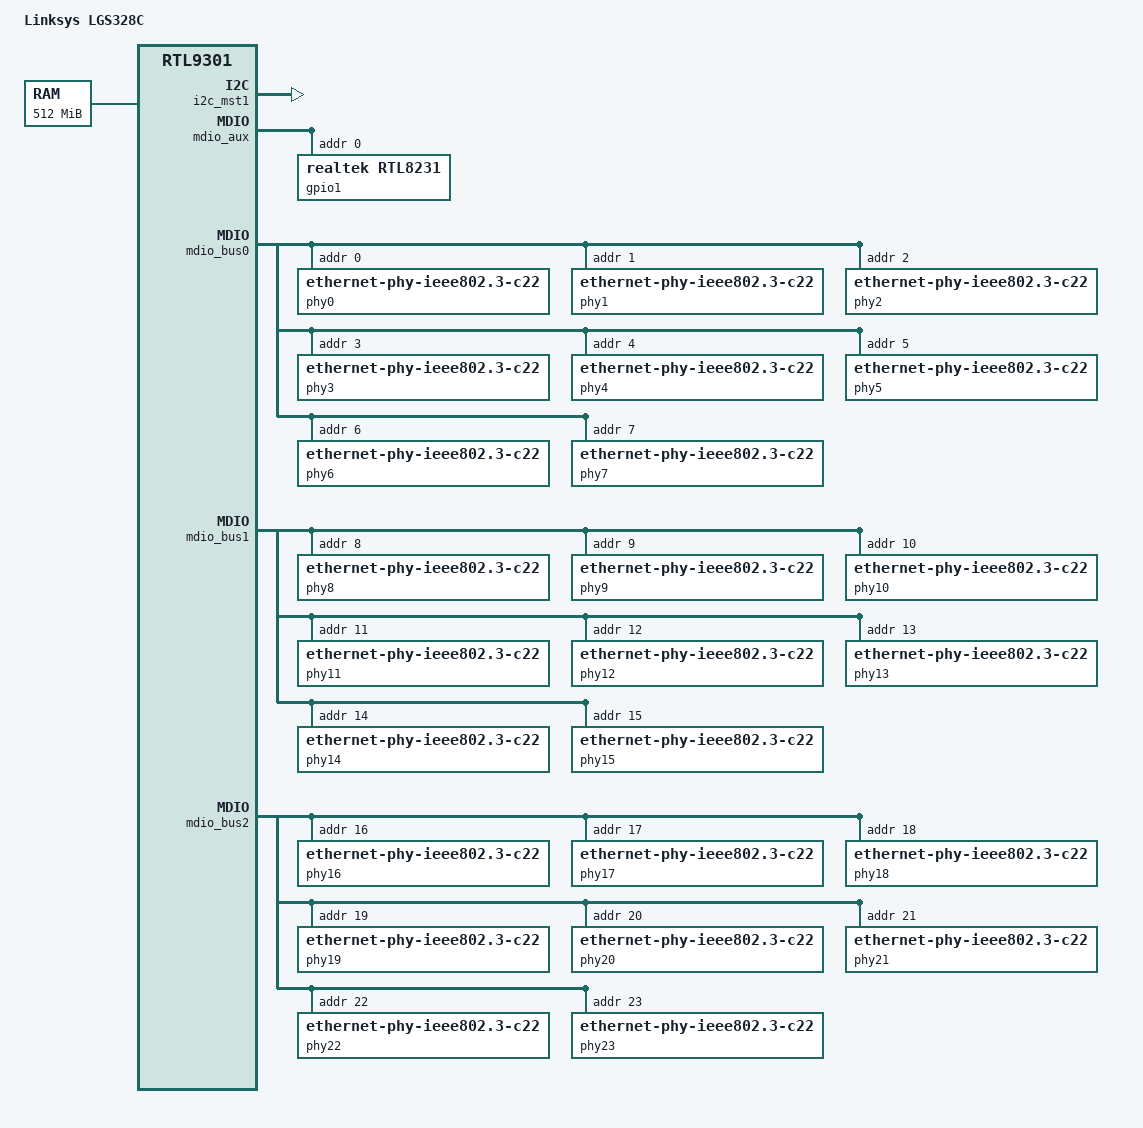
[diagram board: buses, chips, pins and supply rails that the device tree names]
// SPDX-License-Identifier: (GPL-2.0-or-later or MIT)
/dts-v1/;

#include "rtl930x.dtsi"
#include "rtl93xx_linksys_lgs3xxc_nand_common.dtsi"

/ {
	compatible = "linksys,lgs328c", "realtek,rtl9301-soc";
	model = "Linksys LGS328C";

	memory@0 {
		device_type = "memory";
		reg = <0x00000000 0x10000000>, /* 256 MiB lowmem */
		      <0x20000000 0x10000000>; /* 256 MiB highmem */
	};
};

&i2c_mst1 {
	status = "okay";

	i2c2: i2c@2 {
		reg = <2>;
	};
	i2c3: i2c@3 {
		reg = <3>;
	};
	i2c4: i2c@4 {
		reg = <4>;
	};
	i2c5: i2c@5 {
		reg = <5>;
	};
};

&sfp0 {
	i2c-bus = <&i2c2>;
};

&sfp1 {
	i2c-bus = <&i2c3>;
};

&sfp2 {
	i2c-bus = <&i2c4>;
};

&sfp3 {
	i2c-bus = <&i2c5>;
};

&mdio_aux {
	status = "okay";
	gpio1: expander@0 {
		compatible = "realtek,rtl8231";
		reg = <0>;

		gpio-controller;
		#gpio-cells = <2>;
		gpio-ranges = <&gpio1 0 0 37>;

		led-controller {
			compatible = "realtek,rtl8231-leds";
			status = "disabled";
		};
	};
};

&mdio_bus0 {
	phy0: ethernet-phy@0 {
		reg = <0>;
		compatible = "ethernet-phy-ieee802.3-c22";
	};
	phy1: ethernet-phy@1 {
		reg = <1>;
		compatible = "ethernet-phy-ieee802.3-c22";
	};		
	phy2: ethernet-phy@2 {
		reg = <2>;
		compatible = "ethernet-phy-ieee802.3-c22";
	};		
	phy3: ethernet-phy@3 {
		reg = <3>;
		compatible = "ethernet-phy-ieee802.3-c22";
	};		
	phy4: ethernet-phy@4 {
		reg = <4>;
		compatible = "ethernet-phy-ieee802.3-c22";
	};		
	phy5: ethernet-phy@5 {
		reg = <5>;
		compatible = "ethernet-phy-ieee802.3-c22";
	};		
	phy6: ethernet-phy@6 {
		reg = <6>;
		compatible = "ethernet-phy-ieee802.3-c22";
	};		
	phy7: ethernet-phy@7 {
		reg = <7>;
		compatible = "ethernet-phy-ieee802.3-c22";
	};
};

&mdio_bus1 {
	phy8: ethernet-phy@8 {
		reg = <8>;
		compatible = "ethernet-phy-ieee802.3-c22";
	};
	phy9: ethernet-phy@9 {
		reg = <9>;
		compatible = "ethernet-phy-ieee802.3-c22";
	};
	phy10: ethernet-phy@10 {
		reg = <10>;
		compatible = "ethernet-phy-ieee802.3-c22";
	};
	phy11: ethernet-phy@11 {
		reg = <11>;
		compatible = "ethernet-phy-ieee802.3-c22";
	};
	phy12: ethernet-phy@12 {
		reg = <12>;
		compatible = "ethernet-phy-ieee802.3-c22";
	};
	phy13: ethernet-phy@13 {
		reg = <13>;
		compatible = "ethernet-phy-ieee802.3-c22";
	};
	phy14: ethernet-phy@14 {
		reg = <14>;
		compatible = "ethernet-phy-ieee802.3-c22";
	};
	phy15: ethernet-phy@15 {
		reg = <15>;
		compatible = "ethernet-phy-ieee802.3-c22";
	};
};

&mdio_bus2 {
	phy16: ethernet-phy@16 {
		reg = <16>;
		compatible = "ethernet-phy-ieee802.3-c22";
	};
	phy17: ethernet-phy@17 {
		reg = <17>;
		compatible = "ethernet-phy-ieee802.3-c22";
	};		
	phy18: ethernet-phy@18 {
		reg = <18>;
		compatible = "ethernet-phy-ieee802.3-c22";
	};		
	phy19: ethernet-phy@19 {
		reg = <19>;
		compatible = "ethernet-phy-ieee802.3-c22";
	};		
	phy20: ethernet-phy@20 {
		reg = <20>;
		compatible = "ethernet-phy-ieee802.3-c22";
	};		
	phy21: ethernet-phy@21 {
		reg = <21>;
		compatible = "ethernet-phy-ieee802.3-c22";
	};		
	phy22: ethernet-phy@22 {
		reg = <22>;
		compatible = "ethernet-phy-ieee802.3-c22";
	};		
	phy23: ethernet-phy@23 {
		reg = <23>;
		compatible = "ethernet-phy-ieee802.3-c22";
	};	
};

&switch0 {
	ports {
		#address-cells = <1>;
		#size-cells = <0>;

		SWITCH_PORT_SDS(0, 1, 0, qsgmii)
		SWITCH_PORT_SDS(1, 2, 0, qsgmii)
		SWITCH_PORT_SDS(2, 3, 0, qsgmii)
		SWITCH_PORT_SDS(3, 4, 0, qsgmii)
		SWITCH_PORT_SDS(4, 5, 1, qsgmii)
		SWITCH_PORT_SDS(5, 6, 1, qsgmii)
		SWITCH_PORT_SDS(6, 7, 1, qsgmii)
		SWITCH_PORT_SDS(7, 8, 1, qsgmii)
		
		SWITCH_PORT_SDS(8, 9, 2, usxgmii)
		SWITCH_PORT_SDS(9, 10, 2, usxgmii)
		SWITCH_PORT_SDS(10, 11, 2, usxgmii)
		SWITCH_PORT_SDS(11, 12, 2, usxgmii)
		SWITCH_PORT_SDS(12, 13, 2, usxgmii)
		SWITCH_PORT_SDS(13, 14, 2, usxgmii)
		SWITCH_PORT_SDS(14, 15, 2, usxgmii)
		SWITCH_PORT_SDS(15, 16, 2, usxgmii)
		
		SWITCH_PORT_SDS(16, 17, 3, usxgmii)
		SWITCH_PORT_SDS(17, 18, 3, usxgmii)
		SWITCH_PORT_SDS(18, 19, 3, usxgmii)
		SWITCH_PORT_SDS(19, 20, 3, usxgmii)
		SWITCH_PORT_SDS(21, 22, 3, usxgmii)
		SWITCH_PORT_SDS(22, 23, 3, usxgmii)
		SWITCH_PORT_SDS(23, 24, 3, usxgmii)
		
		port@24 {
			reg = <24>;
			label = "lan25";
			pcs-handle = <&serdes4>;
			phy-mode = "1000base-x";
			managed = "in-band-status";
			sfp = <&sfp0>;
		};
		port@25 {
			reg = <25>;
			label = "lan26";
			pcs-handle = <&serdes6>;
			phy-mode = "1000base-x";
			managed = "in-band-status";
			sfp = <&sfp1>;
		};
		port@26 {
			reg = <26>;
			label = "lan27";
			pcs-handle = <&serdes8>;
			phy-mode = "1000base-x";
			managed = "in-band-status";
			sfp = <&sfp2>;
		};
		port@27 {
			reg = <27>;
			label = "lan28";
			pcs-handle = <&serdes9>;
			phy-mode = "1000base-x";
			managed = "in-band-status";
			sfp = <&sfp3>;
		};
		
		port@28 {
			reg = <28>;
			ethernet = <&ethernet0>;
			phy-mode = "internal";
			fixed-link {
				speed = <10000>;
				full-duplex;
			};
		};
	};
};
